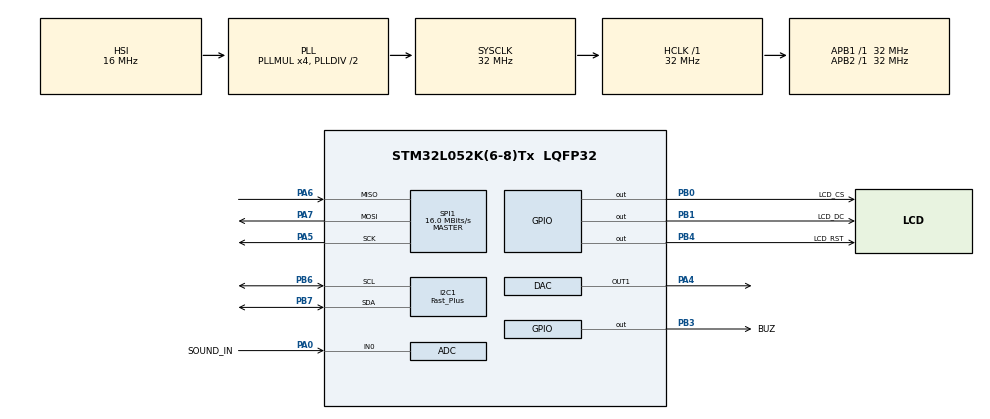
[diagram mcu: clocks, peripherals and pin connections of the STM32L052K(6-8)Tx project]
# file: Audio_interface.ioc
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ADC.ContinuousConvMode=ENABLE
ADC.DMAContinuousRequests=ENABLE
Dma.ADC.0.Direction=DMA_PERIPH_TO_MEMORY
Dma.ADC.0.Instance=DMA1_Channel1
Dma.ADC.0.MemDataAlignment=DMA_MDATAALIGN_HALFWORD
Dma.ADC.0.MemInc=DMA_MINC_ENABLE
Dma.ADC.0.Mode=DMA_NORMAL
Dma.ADC.0.PeriphDataAlignment=DMA_PDATAALIGN_HALFWORD
Dma.ADC.0.PeriphInc=DMA_PINC_DISABLE
Dma.ADC.0.Priority=DMA_PRIORITY_LOW
Dma.Request0=ADC
I2C1.I2C_Speed_Mode=I2C_Fast_Plus
I2C1.Timing=0x00100413
Mcu.Family=STM32L0
Mcu.Name=STM32L052K(6-8)Tx
Mcu.Package=LQFP32
NVIC.DMA1_Channel1_IRQn=true\:0\:0\:false\:false\:true\:false\:true\:true
NVIC.TIM6_DAC_IRQn=true\:0\:0\:false\:true\:true\:1\:true\:true\:true
PA0.GPIO_Label=SOUND_IN
PA0.Mode=IN0
PA0.Signal=ADC_IN0
PA4.Signal=COMP_DAC1_group
PA5.Mode=Full_Duplex_Master
PA5.Signal=SPI1_SCK
PA6.Mode=Full_Duplex_Master
PA6.Signal=SPI1_MISO
PA7.Mode=Full_Duplex_Master
PA7.Signal=SPI1_MOSI
PB0.GPIO_Label=LCD_CS
PB0.GPIO_Speed=GPIO_SPEED_FREQ_VERY_HIGH
PB0.Signal=GPIO_Output
PB1.GPIO_Label=LCD_DC
PB1.GPIO_Speed=GPIO_SPEED_FREQ_VERY_HIGH
PB1.Signal=GPIO_Output
PB3.GPIO_Label=BUZ
PB3.GPIO_Speed=GPIO_SPEED_FREQ_VERY_HIGH
PB3.Signal=GPIO_Output
PB4.GPIO_Label=LCD_RST
PB4.GPIO_Speed=GPIO_SPEED_FREQ_VERY_HIGH
PB4.Signal=GPIO_Output
PB6.GPIO_FM6=__NULL
PB6.GPIO_Pu=GPIO_PULLUP
PB6.Mode=I2C
PB6.Signal=I2C1_SCL
PB7.GPIO_FM7=__NULL
PB7.GPIO_Pu=GPIO_PULLUP
PB7.Mode=I2C
PB7.Signal=I2C1_SDA
ProjectManager.HeapSize=0x200
ProjectManager.StackSize=0x400
ProjectManager.TargetToolchain=STM32CubeIDE
RCC.AHBFreq_Value=32000000
RCC.APB1Freq_Value=32000000
RCC.APB1TimFreq_Value=32000000
RCC.APB2Freq_Value=32000000
RCC.APB2TimFreq_Value=32000000
RCC.HCLKFreq_Value=32000000
RCC.HSI16_VALUE=16000000
RCC.HSI48_VALUE=48000000
RCC.HSI_VALUE=16000000
RCC.LSE_VALUE=32768
RCC.MSI_VALUE=2097000
RCC.PLLMUL=RCC_PLLMUL_4
RCC.SYSCLKFreq_VALUE=32000000
RCC.SYSCLKSource=RCC_SYSCLKSOURCE_PLLCLK
RCC.VCOOutputFreq_Value=64000000
SH.COMP_DAC1_group.0=DAC_OUT1,DAC_OUT1
SPI1.BaudRatePrescaler=SPI_BAUDRATEPRESCALER_2
SPI1.CalculateBaudRate=16.0 MBits/s
SPI1.Direction=SPI_DIRECTION_2LINES
SPI1.Mode=SPI_MODE_MASTER
SPI1.VirtualType=VM_MASTER
board=custom

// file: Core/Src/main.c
/* USER CODE BEGIN Header */
/**
 ******************************************************************************
 * @file           : main.c
 * @brief          : Main program body
 ******************************************************************************
 * @attention
 *
 * Copyright (c) 2023 STMicroelectronics.
 * All rights reserved.
 *
 * This software is licensed under terms that can be found in the LICENSE file
 * in the root directory of this software component.
 * If no LICENSE file comes with this software, it is provided AS-IS.
 *
 ******************************************************************************
 */
/* USER CODE END Header */
#include "main.h"

/* USER CODE BEGIN Includes */
#include <stdio.h>
#include <string.h>
#include "ILI9341_GFX.h"
#include "ILI9341_STM32_Driver.h"
#include "fonts.h"
#include "FT6206.h"
#include "DS3231.h"
/* USER CODE END Includes */

/* USER CODE BEGIN PTD */

typedef struct{
	uint8_t year, month, day;
	uint8_t hour, min, sec;
}TIME;

typedef struct{
	uint16_t x, y;
}POS;

typedef enum{
	black, blue, green, red, yellow, white,
}COLOR_;

/* USER CODE END PTD */

/* USER CODE BEGIN PD */
#define RECT 50
/* USER CODE END PD */

ADC_HandleTypeDef hadc;
DMA_HandleTypeDef hdma_adc;

DAC_HandleTypeDef hdac;

I2C_HandleTypeDef hi2c1;

SPI_HandleTypeDef hspi1;

/* USER CODE BEGIN PV */
const uint8_t lastDay[12] = { 31, 28, 31, 30, 31, 30, 31, 31, 30, 31, 30, 31 };
const uint16_t lcd_color[6] = { BLACK, BLUE, GREEN, RED, YELLOW, WHITE };

COLOR_ txt_color[17] = { black }, back_color[17] = { white };
COLOR_ set_tcolor = black, set_bcolor = white;
TS_POINT curXY;
TIME time = {23, 6, 22, 0, 0, 0};

uint8_t modeF, firF, buzM;
uint16_t buzC;
uint32_t adcV;

/* USER CODE END PV */

void SystemClock_Config(void);
static void MX_GPIO_Init(void);
static void MX_ADC_Init(void);
static void MX_DAC_Init(void);
static void MX_DMA_Init(void);
static void MX_SPI1_Init(void);
static void MX_I2C1_Init(void);
static void MX_NVIC_Init(void);
/* USER CODE BEGIN PFP */

__STATIC_INLINE void BUZ(uint8_t state){
	HAL_GPIO_WritePin(BUZ_GPIO_Port, BUZ_Pin, state);
}

__STATIC_INLINE void time_set(void){
	DS3231_set_date(time.day, time.month, time.year);
	DS3231_set_time(time.sec, time.min, time.hour);
}

__STATIC_INLINE void time_get(void){
	DS3231_get_date(&time.day, &time.month, &time.year);
	DS3231_get_time(&time.sec, &time.min, &time.hour);
}

__STATIC_INLINE uint8_t coor_check(uint16_t start_x, uint16_t end_x, uint16_t start_y, uint16_t end_y){
	return ((curXY.x >= start_x * 15 && curXY.x <= end_x * 15) && (curXY.y >= start_y * 19 && curXY.y <= end_y * 19));
}

__STATIC_INLINE void LCD_clear(COLOR_ color){
	ILI9341_FillScreen(lcd_color[color]);
}

__STATIC_INLINE void reset_value(void){
	modeF = firF = buzM = 0;
	LCD_clear(set_bcolor);
}

void LCD_putsXY(uint16_t x, uint16_t y, char* str, COLOR_ color, COLOR_ bg_color){
	ILI9341_DrawText(str, FONT, x * 15, y * 19, lcd_color[color], lcd_color[bg_color]);
}

void array_puts(POS* pos, char* title, char** arr, COLOR_* color, COLOR_* bg_color, uint8_t num){
	LCD_putsXY(0, 0, title, set_tcolor, set_bcolor);
	for(uint8_t i = 0 ; i < num ; i++)
		LCD_putsXY(pos[i].x, pos[i].y, arr[i], color[i], bg_color[i]);
}

void time_setting(void){
	uint8_t sel = 0;
	TIME set_time = { 23, 6, 22, 0, 0, 0 };

	POS pos[9] = {{5, 4}, {10, 4}, {14, 4}, {6, 5}, {10, 5}, {14, 5}, {7, 8}, {12, 8}, {17, 10}};
	char bf[6][20];

	LCD_clear(set_bcolor);
	while(1){
		if(!firF){
			firF = 1;
			LCD_putsXY(6, 1, "< Time Setting >", set_tcolor, set_bcolor);

			for(uint8_t i = 0 ; i < 9 ; i++){
				if(sel == i){
					txt_color[i] = set_bcolor;
					back_color[i] = set_tcolor;
				}
				else{
					txt_color[i] = set_tcolor;
					back_color[i] = set_bcolor;
				}
			}

			sprintf(bf[0], "Y:%04d", 2000 + set_time.year);
			sprintf(bf[1], "M:%02d", set_time.month);
			if(set_time.day > lastDay[set_time.month - 1]) set_time.day = lastDay[set_time.month - 1];
			sprintf(bf[2], "D:%02d", set_time.day);
			sprintf(bf[3], "H:%02d", set_time.hour);
			sprintf(bf[4], "m:%02d", set_time.min);
			sprintf(bf[5], "S:%02d", set_time.sec);

			char* array[9] = { bf[0], bf[1], bf[2], bf[3], bf[4], bf[5], "UP", "DOWN", "OK!" };
			array_puts(pos, "", array, txt_color, back_color, 9);
			LCD_putsXY(6, 1, "< Time Setting >", set_tcolor, set_bcolor);
		}

		if(touched()) firF = 0;

		if(curXY.x > 0 || curXY.y > 0){
			if(coor_check(17, 17 + strlen("OK!"), 10, 11)) break;
			else if(coor_check(5, 5 + strlen(bf[0]), 4, 5)) sel = 0;
			else if(coor_check(10, 10 + strlen(bf[1]), 4, 5)) sel = 1;
			else if(coor_check(14, 14 + strlen(bf[2]), 4, 5)) sel = 2;
			else if(coor_check(6, 7 + strlen(bf[3]), 5, 6)) sel = 3;
			else if(coor_check(10, 10 + strlen(bf[4]), 5, 6)) sel = 4;
			else if(coor_check(14, 14 + strlen(bf[5]), 5, 6)) sel = 5;
			else{
				if(coor_check(7, 7 + strlen("UP"), 7, 9)){
					if(sel == 0 && set_time.year < 99) set_time.year++;
					else if(sel == 1 && set_time.month < 12) set_time.month++;
					else if(sel == 2 && set_time.day < lastDay[set_time.month - 1]) set_time.day++;
					else if(sel == 3 && set_time.hour < 23) set_time.hour++;
					else if(sel == 4 && set_time.min < 59) set_time.min++;
					else if(sel == 5 && set_time.sec < 59) set_time.sec++;
				}
				else if(coor_check(12, 12 + strlen("DOWN"), 7, 9)){
					if(sel == 0 && set_time.year > 0) set_time.year--;
					else if(sel == 1 && set_time.month > 1) set_time.month--;
					else if(sel == 2 && set_time.day > 1) set_time.day--;
					else if(sel == 3 && set_time.hour > 0) set_time.hour--;
					else if(sel == 4 && set_time.min > 0) set_time.min--;
					else if(sel == 5 && set_time.sec > 0) set_time.sec--;
				}
			}
		}
	}
	buzM = 1;
	time = set_time;
	firF = 0;
	time_set();
	LCD_clear(set_bcolor);
}

void start(void){
	LCD_clear(set_bcolor);

	LCD_putsXY(3, 4, "< Skill Competition Task 3 >", set_tcolor, set_bcolor);
	LCD_putsXY(7, 6, "Audio Interface", set_tcolor, set_bcolor);
	HAL_Delay(2000);
	time_setting();
}

void main_menu(void){
	if(!firF){
		firF = 1;

		for(uint8_t i = 0 ; i < 17 ; i++){
			txt_color[i] = set_tcolor;
			back_color[i] = set_bcolor;
		}
	}
	time_get();
	char bf[20];
	POS pos[4] = {{0, 1}, {2, 4}, {2, 7}};
	sprintf(bf, "%04d.%02d.%02d %02d:%02d:%02d", 2000 + time.year, time.month, time.day, time.hour, time.min, time.sec);

	char* array[3] = { bf, "1. Sound modulation", "2. Color Setting" };
	array_puts(pos, ">Main", array, txt_color, back_color, 3);

	if(curXY.x > 0 || curXY.y > 0){
		if(coor_check(0, strlen(bf), 1, 1 + 1)) time_setting();
		else if(coor_check(2, 2 + strlen("1. Sound modulation"), 4, 4 + 1)){
			reset_value();
			modeF = 1;
		}
		else if(coor_check(2, 2 + strlen("2. Color Setting"), 7, 7 + 1)){
			reset_value();
			modeF = 2;
		}
	}
}

void modulation_mode(void){

}

void setting_mode(void){
	static uint8_t sel;
	static COLOR_ t_color = white, b_color = black;

	if(!firF){
		firF = 1;

		sel = 0;
		t_color = set_tcolor;
		b_color = set_bcolor;

		for(uint8_t i = 0 ; i < 17 ; i++){
			txt_color[i] = set_tcolor;
			back_color[i] = set_bcolor;
		}
	}

	time_get();
	char bf[3][20];
	POS pos[6] = {{0, 1}, {2, 4}, {2, 6}, {14, 4}, {14, 6}, {15, 1}};
	sprintf(bf[0], "%04d.%02d.%02d %02d:%02d:%02d", 2000 + time.year, time.month, time.day, time.hour, time.min, time.sec);

	back_color[1] = sel == 0 ? set_tcolor : set_bcolor;
	back_color[2] = sel == 1 ? set_tcolor : set_bcolor;

	txt_color[1] = sel == 0 ? set_bcolor : set_tcolor;
	txt_color[2] = sel == 1 ? set_bcolor : set_tcolor;

	txt_color[3] = t_color;
	txt_color[4] = b_color;

	sprintf(bf[1], "%s   ", t_color == black ? "Black" : t_color == blue ? "Blue" : t_color == green ? "Green" : t_color == red ? "Red" : t_color == yellow ? "Yellow" : "White");
	sprintf(bf[2], "%s   ", b_color == black ? "Black" : b_color == blue ? "Blue" : b_color == green ? "Green" : b_color == red ? "Red" : b_color == yellow ? "Yellow" : "White");

	char* array[6] = { bf[0], "Text Color:", "Background Color:", bf[1], bf[2], "Back" };
	array_puts(pos, ">Setting", array, txt_color, back_color, 6);

	for(uint8_t i = 0 ; i < 6 ; i++)
		ILI9341_DrawFilledRectangleCoord(RECT * i, 190, RECT * (i + 1), 240, lcd_color[i]);

	if(curXY.x > 0 || curXY.y > 0){
		if(coor_check(15, 15 + strlen("Back"), 1, 1 + 1)){
			set_tcolor = t_color;
			set_bcolor = b_color;
			reset_value();
			buzM = 1;
		}
		else if(coor_check(0, strlen(bf[0]), 1, 1 + 1)) { firF = 0; time_setting(); }
		else if(coor_check(2, 2 + strlen("Text Color: Yellow"), 4, 4 + 1)) sel = 0;
		else if(coor_check(2, 2 + strlen("Background Color: Yellow"), 6, 6 + 1)) sel = 1;
		else if(curXY.y > 190){
			if(curXY.x < RECT) { if(sel == 0) t_color = black; else b_color = black; }
			else if(curXY.x < RECT * 2) { if(sel == 0) t_color = blue; else b_color = blue; }
			else if(curXY.x < RECT * 3) { if(sel == 0) t_color = green; else b_color = green; }
			else if(curXY.x < RECT * 4) { if(sel == 0) t_color = red; else b_color = red; }
			else if(curXY.x < RECT * 5) { if(sel == 0) t_color = yellow; else b_color = yellow; }
			else if(curXY.x < RECT * 6) { if(sel == 0) t_color = white; else b_color = white; }
		}
	}
}

void (*main_fuc[3])(void) = { main_menu, modulation_mode, setting_mode };

void HAL_SYSTICK_Callback(void){
	if(buzM) buzC++;

	if(buzM == 1){
		if(buzC < 500) BUZ(1);
		else{
			buzM = buzC = 0;
			BUZ(0);
		}
	}

	if(touched()) curXY = getPoint(0);
	else curXY = getPoint(1);
}

/* USER CODE END PFP */

int main(void)
{

	/* MCU Configuration--------------------------------------------------------*/

	/* Reset of all peripherals, Initializes the Flash interface and the Systick. */
	HAL_Init();

	/* Configure the system clock */
	SystemClock_Config();

	/* Initialize all configured peripherals */
	MX_GPIO_Init();
	MX_ADC_Init();
	MX_DAC_Init();
	MX_DMA_Init();
	MX_SPI1_Init();
	MX_I2C1_Init();

	/* Initialize interrupts */
	MX_NVIC_Init();
	/* USER CODE BEGIN 2 */
	HAL_DAC_Start(&hdac, DAC1_CHANNEL_1);
	HAL_ADC_Start_DMA(&hadc, &adcV, 1);
	ILI9341_Init();
	INIT_FT6206();
	FT6206_Begin(255);
	LCD_clear(set_bcolor);

	start();

	/* USER CODE END 2 */

	/* Infinite loop */
	/* USER CODE BEGIN WHILE */
	while (1)
	{
		main_fuc[modeF]();

		/* USER CODE END WHILE */

	}
}

void SystemClock_Config(void)
{
	RCC_OscInitTypeDef RCC_OscInitStruct = {0};
	RCC_ClkInitTypeDef RCC_ClkInitStruct = {0};
	RCC_PeriphCLKInitTypeDef PeriphClkInit = {0};

	/** Configure the main internal regulator output voltage
	 */
	__HAL_PWR_VOLTAGESCALING_CONFIG(PWR_REGULATOR_VOLTAGE_SCALE1);

	/** Initializes the RCC Oscillators according to the specified parameters
	 * in the RCC_OscInitTypeDef structure.
	 */
	RCC_OscInitStruct.OscillatorType = RCC_OSCILLATORTYPE_HSI;
	RCC_OscInitStruct.HSIState = RCC_HSI_ON;
	RCC_OscInitStruct.HSICalibrationValue = RCC_HSICALIBRATION_DEFAULT;
	RCC_OscInitStruct.PLL.PLLState = RCC_PLL_ON;
	RCC_OscInitStruct.PLL.PLLSource = RCC_PLLSOURCE_HSI;
	RCC_OscInitStruct.PLL.PLLMUL = RCC_PLLMUL_4;
	RCC_OscInitStruct.PLL.PLLDIV = RCC_PLLDIV_2;
	if (HAL_RCC_OscConfig(&RCC_OscInitStruct) != HAL_OK)
	{
		Error_Handler();
	}

	/** Initializes the CPU, AHB and APB buses clocks
	 */
	RCC_ClkInitStruct.ClockType = RCC_CLOCKTYPE_HCLK|RCC_CLOCKTYPE_SYSCLK
			|RCC_CLOCKTYPE_PCLK1|RCC_CLOCKTYPE_PCLK2;
	RCC_ClkInitStruct.SYSCLKSource = RCC_SYSCLKSOURCE_PLLCLK;
	RCC_ClkInitStruct.AHBCLKDivider = RCC_SYSCLK_DIV1;
	RCC_ClkInitStruct.APB1CLKDivider = RCC_HCLK_DIV1;
	RCC_ClkInitStruct.APB2CLKDivider = RCC_HCLK_DIV1;

	if (HAL_RCC_ClockConfig(&RCC_ClkInitStruct, FLASH_LATENCY_1) != HAL_OK)
	{
		Error_Handler();
	}
	PeriphClkInit.PeriphClockSelection = RCC_PERIPHCLK_I2C1;
	PeriphClkInit.I2c1ClockSelection = RCC_I2C1CLKSOURCE_PCLK1;
	if (HAL_RCCEx_PeriphCLKConfig(&PeriphClkInit) != HAL_OK)
	{
		Error_Handler();
	}
}

/**
 * @brief NVIC Configuration.
 * @retval None
 */
static void MX_NVIC_Init(void)
{
	/* TIM6_DAC_IRQn interrupt configuration */
	HAL_NVIC_SetPriority(TIM6_DAC_IRQn, 0, 0);
	HAL_NVIC_EnableIRQ(TIM6_DAC_IRQn);
}

static void MX_ADC_Init(void)
{

	ADC_ChannelConfTypeDef sConfig = {0};

	/** Configure the global features of the ADC (Clock, Resolution, Data Alignment and number of conversion)
	 */
	hadc.Instance = ADC1;
	hadc.Init.OversamplingMode = DISABLE;
	hadc.Init.ClockPrescaler = ADC_CLOCK_SYNC_PCLK_DIV2;
	hadc.Init.Resolution = ADC_RESOLUTION_12B;
	hadc.Init.SamplingTime = ADC_SAMPLETIME_1CYCLE_5;
	hadc.Init.ScanConvMode = ADC_SCAN_DIRECTION_FORWARD;
	hadc.Init.DataAlign = ADC_DATAALIGN_RIGHT;
	hadc.Init.ContinuousConvMode = ENABLE;
	hadc.Init.DiscontinuousConvMode = DISABLE;
	hadc.Init.ExternalTrigConvEdge = ADC_EXTERNALTRIGCONVEDGE_NONE;
	hadc.Init.ExternalTrigConv = ADC_SOFTWARE_START;
	hadc.Init.DMAContinuousRequests = ENABLE;
	hadc.Init.EOCSelection = ADC_EOC_SINGLE_CONV;
	hadc.Init.Overrun = ADC_OVR_DATA_PRESERVED;
	hadc.Init.LowPowerAutoWait = DISABLE;
	hadc.Init.LowPowerFrequencyMode = DISABLE;
	hadc.Init.LowPowerAutoPowerOff = DISABLE;
	if (HAL_ADC_Init(&hadc) != HAL_OK)
	{
		Error_Handler();
	}

	/** Configure for the selected ADC regular channel to be converted.
	 */
	sConfig.Channel = ADC_CHANNEL_0;
	sConfig.Rank = ADC_RANK_CHANNEL_NUMBER;
	if (HAL_ADC_ConfigChannel(&hadc, &sConfig) != HAL_OK)
	{
		Error_Handler();
	}

}

static void MX_DAC_Init(void)
{

	DAC_ChannelConfTypeDef sConfig = {0};

	/** DAC Initialization
	 */
	hdac.Instance = DAC;
	if (HAL_DAC_Init(&hdac) != HAL_OK)
	{
		Error_Handler();
	}

	/** DAC channel OUT1 config
	 */
	sConfig.DAC_Trigger = DAC_TRIGGER_NONE;
	sConfig.DAC_OutputBuffer = DAC_OUTPUTBUFFER_ENABLE;
	if (HAL_DAC_ConfigChannel(&hdac, &sConfig, DAC_CHANNEL_1) != HAL_OK)
	{
		Error_Handler();
	}

}

static void MX_I2C1_Init(void)
{

	hi2c1.Instance = I2C1;
	hi2c1.Init.Timing = 0x00100413;
	hi2c1.Init.OwnAddress1 = 0;
	hi2c1.Init.AddressingMode = I2C_ADDRESSINGMODE_7BIT;
	hi2c1.Init.DualAddressMode = I2C_DUALADDRESS_DISABLE;
	hi2c1.Init.OwnAddress2 = 0;
	hi2c1.Init.OwnAddress2Masks = I2C_OA2_NOMASK;
	hi2c1.Init.GeneralCallMode = I2C_GENERALCALL_DISABLE;
	hi2c1.Init.NoStretchMode = I2C_NOSTRETCH_DISABLE;
	if (HAL_I2C_Init(&hi2c1) != HAL_OK)
	{
		Error_Handler();
	}

	/** Configure Analogue filter
	 */
	if (HAL_I2CEx_ConfigAnalogFilter(&hi2c1, I2C_ANALOGFILTER_ENABLE) != HAL_OK)
	{
		Error_Handler();
	}

	/** Configure Digital filter
	 */
	if (HAL_I2CEx_ConfigDigitalFilter(&hi2c1, 0) != HAL_OK)
	{
		Error_Handler();
	}

	/** I2C Fast mode Plus enable
	 */
	HAL_I2CEx_EnableFastModePlus(I2C_FASTMODEPLUS_I2C1);

}

static void MX_SPI1_Init(void)
{

	/* SPI1 parameter configuration*/
	hspi1.Instance = SPI1;
	hspi1.Init.Mode = SPI_MODE_MASTER;
	hspi1.Init.Direction = SPI_DIRECTION_2LINES;
	hspi1.Init.DataSize = SPI_DATASIZE_8BIT;
	hspi1.Init.CLKPolarity = SPI_POLARITY_LOW;
	hspi1.Init.CLKPhase = SPI_PHASE_1EDGE;
	hspi1.Init.NSS = SPI_NSS_SOFT;
	hspi1.Init.BaudRatePrescaler = SPI_BAUDRATEPRESCALER_2;
	hspi1.Init.FirstBit = SPI_FIRSTBIT_MSB;
	hspi1.Init.TIMode = SPI_TIMODE_DISABLE;
	hspi1.Init.CRCCalculation = SPI_CRCCALCULATION_DISABLE;
	hspi1.Init.CRCPolynomial = 7;
	if (HAL_SPI_Init(&hspi1) != HAL_OK)
	{
		Error_Handler();
	}

}

static void MX_DMA_Init(void)
{

	/* DMA controller clock enable */
	__HAL_RCC_DMA1_CLK_ENABLE();

	/* DMA interrupt init */
	/* DMA1_Channel1_IRQn interrupt configuration */
	HAL_NVIC_SetPriority(DMA1_Channel1_IRQn, 0, 0);
	HAL_NVIC_EnableIRQ(DMA1_Channel1_IRQn);

}

static void MX_GPIO_Init(void)
{
	GPIO_InitTypeDef GPIO_InitStruct = {0};

	/* GPIO Ports Clock Enable */
	__HAL_RCC_GPIOA_CLK_ENABLE();
	__HAL_RCC_GPIOB_CLK_ENABLE();

	/*Configure GPIO pin Output Level */
	HAL_GPIO_WritePin(GPIOB, LCD_CS_Pin|LCD_DC_Pin|BUZ_Pin|LCD_RST_Pin, GPIO_PIN_RESET);

	/*Configure GPIO pins : LCD_CS_Pin LCD_DC_Pin BUZ_Pin LCD_RST_Pin */
	GPIO_InitStruct.Pin = LCD_CS_Pin|LCD_DC_Pin|BUZ_Pin|LCD_RST_Pin;
	GPIO_InitStruct.Mode = GPIO_MODE_OUTPUT_PP;
	GPIO_InitStruct.Pull = GPIO_NOPULL;
	GPIO_InitStruct.Speed = GPIO_SPEED_FREQ_VERY_HIGH;
	HAL_GPIO_Init(GPIOB, &GPIO_InitStruct);

}

void Error_Handler(void)
{
	__disable_irq();
	while (1)
	{
	}
}
